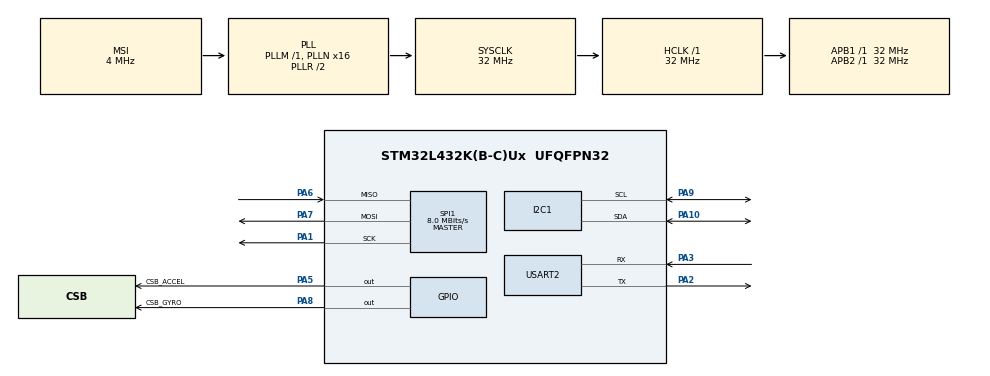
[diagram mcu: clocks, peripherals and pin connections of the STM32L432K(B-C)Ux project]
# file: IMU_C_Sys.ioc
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I2C1.Timing=0x00707CBB
Mcu.Family=STM32L4
Mcu.Name=STM32L432K(B-C)Ux
Mcu.Package=UFQFPN32
NVIC.PriorityGroup=NVIC_PRIORITYGROUP_4
PA1.Mode=Full_Duplex_Master
PA1.Signal=SPI1_SCK
PA10.Mode=I2C
PA10.Signal=I2C1_SDA
PA2.Mode=Asynchronous
PA2.Signal=USART2_TX
PA3.Mode=Asynchronous
PA3.Signal=USART2_RX
PA5.GPIO_Label=CSB_ACCEL
PA5.Signal=GPIO_Output
PA6.Mode=Full_Duplex_Master
PA6.Signal=SPI1_MISO
PA7.Mode=Full_Duplex_Master
PA7.Signal=SPI1_MOSI
PA8.GPIO_Label=CSB_GYRO
PA8.Signal=GPIO_Output
PA9.Mode=I2C
PA9.Signal=I2C1_SCL
ProjectManager.HeapSize=0x200
ProjectManager.StackSize=0x400
ProjectManager.TargetToolchain=STM32CubeIDE
RCC.ADCFreq_Value=32000000
RCC.AHBFreq_Value=32000000
RCC.APB1Freq_Value=32000000
RCC.APB1TimFreq_Value=32000000
RCC.APB2Freq_Value=32000000
RCC.APB2TimFreq_Value=32000000
RCC.CortexFreq_Value=32000000
RCC.HCLKFreq_Value=32000000
RCC.HSE_VALUE=8000000
RCC.HSI16_VALUE=16000000
RCC.HSI48_VALUE=48000000
RCC.HSI_VALUE=16000000
RCC.LSE_VALUE=32768
RCC.MSI_VALUE=4000000
RCC.PLLMUL=RCC_PLLMUL_4
RCC.PLLN=16
RCC.PLLSAI1N=16
RCC.SYSCLKFreq_VALUE=32000000
RCC.SYSCLKSource=RCC_SYSCLKSOURCE_PLLCLK
RCC.USBFreq_Value=32000000
RCC.VCOOutputFreq_Value=64000000
SPI1.BaudRatePrescaler=SPI_BAUDRATEPRESCALER_4
SPI1.CLKPhase=SPI_PHASE_1EDGE
SPI1.CLKPolarity=SPI_POLARITY_LOW
SPI1.CalculateBaudRate=8.0 MBits/s
SPI1.DataSize=SPI_DATASIZE_8BIT
SPI1.Direction=SPI_DIRECTION_2LINES
SPI1.FirstBit=SPI_FIRSTBIT_MSB
SPI1.Mode=SPI_MODE_MASTER
SPI1.VirtualType=VM_MASTER
USART2.VirtualMode-Asynchronous=VM_ASYNC
board=NUCLEO-L432KC

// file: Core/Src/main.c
/* USER CODE BEGIN Header */
/**
  ******************************************************************************
  * @file           : main.c
  * @brief          : Main program body
  ******************************************************************************
  * @attention
  *
  * Copyright (c) 2026 STMicroelectronics.
  * All rights reserved.
  *
  * This software is licensed under terms that can be found in the LICENSE file
  * in the root directory of this software component.
  * If no LICENSE file comes with this software, it is provided AS-IS.
  *
  ******************************************************************************
  */
/* USER CODE END Header */
#include "main.h"

/* USER CODE BEGIN Includes */
#include <stdio.h>
#include <stdarg.h>
#include <string.h>
#include <math.h>
#include "compass.h"
#include "bmi088.h"
#include "sensor_fusion.h"
/* USER CODE END Includes */

I2C_HandleTypeDef hi2c1;

SPI_HandleTypeDef hspi1;

UART_HandleTypeDef huart2;

void SystemClock_Config(void);
static void MX_GPIO_Init(void);
static void MX_USART2_UART_Init(void);
static void MX_SPI1_Init(void);
static void MX_I2C1_Init(void);

/* USER CODE BEGIN 0 */

/**
  * @brief  Printf function for UART2
  */
void huart2_printf(const char *format, ...) {
    static char linebuf[1024];
    va_list args;
    va_start(args, format);
    int n = vsnprintf(linebuf, 1024, format, args);
    HAL_UART_Transmit(&huart2, (uint8_t*) linebuf, n, HAL_MAX_DELAY);
    va_end(args);
}

/* USER CODE END 0 */

int main(void)
{

  /* MCU Configuration--------------------------------------------------------*/

  /* Reset of all peripherals, Initializes the Flash interface and the Systick. */
  HAL_Init();

  /* Configure the system clock */
  SystemClock_Config();

  /* Initialize all configured peripherals */
  MX_GPIO_Init();
  MX_USART2_UART_Init();
  MX_SPI1_Init();
  MX_I2C1_Init();
  /* USER CODE BEGIN 2 */

  /* Initialize Compass */
  HAL_StatusTypeDef status;
  int16_t deg;

  status = compass4clickInit();
  if (status == HAL_OK) {
      huart2_printf("Compass Init OK\r\n");
  } else {
      huart2_printf("Compass Init FAIL %d\r\n", status);
  }

  /* Initialize BMI088 IMU */
  if (BMI088_Init(&hspi1) != 0) {
      huart2_printf("BMI088 initialization failed!\r\n");
      return -1;
  }
  huart2_printf("BMI088 initialized successfully\r\n");

  /* Initialize sensor fusion */
  SensorFusion_Init();

  /* Output structure for orientation */
  imu_measurement_t imu_data;
  orientation_t orientation;
  huart2_printf("---------------Start---------------");
  /* USER CODE END 2 */

  /* Infinite loop */
  /* USER CODE BEGIN WHILE */
  while (1)
  {
      /* Read IMU data */
      if (BMI088_Read(&hspi1, &imu_data) != 0) {
          continue;
      }

      /* Update sensor fusion */
      SensorFusion_Update(&imu_data, &orientation);

      /* Read compass heading */
      status = heading(&deg);

      /* Communikation with the other board */
      uint8_t frame[14] = {0};
      frame[0] = 0xAA;
      frame[1] = 0x33;

      memcpy(&frame[2],  &orientation.roll,  4);
      memcpy(&frame[6],  &orientation.pitch, 4);
      memcpy(&frame[10], &orientation.yaw,   4);

      HAL_UART_Transmit(&huart2, frame, sizeof(frame), HAL_MAX_DELAY);

      HAL_Delay(20);

      uint8_t frame2[14] = {0};
      frame2[0] = 0xAA;
      frame2[1] = 0x44;

      float heading_f = (float)deg;

      memcpy(&frame2[2],  &heading_f,  4);

      HAL_UART_Transmit(&huart2, frame2, sizeof(frame2), HAL_MAX_DELAY);
      HAL_Delay(20);
  }

    /* USER CODE END WHILE */

}

void SystemClock_Config(void)
{
  RCC_OscInitTypeDef RCC_OscInitStruct = {0};
  RCC_ClkInitTypeDef RCC_ClkInitStruct = {0};

  /** Configure the main internal regulator output voltage
  */
  if (HAL_PWREx_ControlVoltageScaling(PWR_REGULATOR_VOLTAGE_SCALE1) != HAL_OK)
  {
    Error_Handler();
  }

  /** Initializes the RCC Oscillators according to the specified parameters
  * in the RCC_OscInitTypeDef structure.
  */
  RCC_OscInitStruct.OscillatorType = RCC_OSCILLATORTYPE_MSI;
  RCC_OscInitStruct.MSIState = RCC_MSI_ON;
  RCC_OscInitStruct.MSICalibrationValue = 0;
  RCC_OscInitStruct.MSIClockRange = RCC_MSIRANGE_6;
  RCC_OscInitStruct.PLL.PLLState = RCC_PLL_ON;
  RCC_OscInitStruct.PLL.PLLSource = RCC_PLLSOURCE_MSI;
  RCC_OscInitStruct.PLL.PLLM = 1;
  RCC_OscInitStruct.PLL.PLLN = 16;
  RCC_OscInitStruct.PLL.PLLP = RCC_PLLP_DIV7;
  RCC_OscInitStruct.PLL.PLLQ = RCC_PLLQ_DIV2;
  RCC_OscInitStruct.PLL.PLLR = RCC_PLLR_DIV2;
  if (HAL_RCC_OscConfig(&RCC_OscInitStruct) != HAL_OK)
  {
    Error_Handler();
  }

  /** Initializes the CPU, AHB and APB buses clocks
  */
  RCC_ClkInitStruct.ClockType = RCC_CLOCKTYPE_HCLK|RCC_CLOCKTYPE_SYSCLK
                              |RCC_CLOCKTYPE_PCLK1|RCC_CLOCKTYPE_PCLK2;
  RCC_ClkInitStruct.SYSCLKSource = RCC_SYSCLKSOURCE_PLLCLK;
  RCC_ClkInitStruct.AHBCLKDivider = RCC_SYSCLK_DIV1;
  RCC_ClkInitStruct.APB1CLKDivider = RCC_HCLK_DIV1;
  RCC_ClkInitStruct.APB2CLKDivider = RCC_HCLK_DIV1;

  if (HAL_RCC_ClockConfig(&RCC_ClkInitStruct, FLASH_LATENCY_1) != HAL_OK)
  {
    Error_Handler();
  }
}

static void MX_I2C1_Init(void)
{

  /* USER CODE BEGIN I2C1_Init 1 */

  /* USER CODE BEGIN I2C1_Init 0 */

  /* USER CODE END I2C1_Init 0 */

  /* USER CODE BEGIN I2C1_Init 1 */

  /* USER CODE END I2C1_Init 1 */
  hi2c1.Instance = I2C1;
  hi2c1.Init.Timing = 0x00707CBB;
  hi2c1.Init.OwnAddress1 = 0;
  hi2c1.Init.AddressingMode = I2C_ADDRESSINGMODE_7BIT;
  hi2c1.Init.DualAddressMode = I2C_DUALADDRESS_DISABLE;
  hi2c1.Init.OwnAddress2 = 0;
  hi2c1.Init.OwnAddress2Masks = I2C_OA2_NOMASK;
  hi2c1.Init.GeneralCallMode = I2C_GENERALCALL_DISABLE;
  hi2c1.Init.NoStretchMode = I2C_NOSTRETCH_DISABLE;
  if (HAL_I2C_Init(&hi2c1) != HAL_OK)
  {
    Error_Handler();
  }

  /** Configure Analogue filter
  */
  if (HAL_I2CEx_ConfigAnalogFilter(&hi2c1, I2C_ANALOGFILTER_ENABLE) != HAL_OK)
  {
    Error_Handler();
  }

  /** Configure Digital filter
  */
  if (HAL_I2CEx_ConfigDigitalFilter(&hi2c1, 0) != HAL_OK)
  {
    Error_Handler();
  }

}

static void MX_SPI1_Init(void)
{

  /* SPI1 parameter configuration*/
  hspi1.Instance = SPI1;
  hspi1.Init.Mode = SPI_MODE_MASTER;
  hspi1.Init.Direction = SPI_DIRECTION_2LINES;
  hspi1.Init.DataSize = SPI_DATASIZE_8BIT;
  hspi1.Init.CLKPolarity = SPI_POLARITY_LOW;
  hspi1.Init.CLKPhase = SPI_PHASE_1EDGE;
  hspi1.Init.NSS = SPI_NSS_SOFT;
  hspi1.Init.BaudRatePrescaler = SPI_BAUDRATEPRESCALER_4;
  hspi1.Init.FirstBit = SPI_FIRSTBIT_MSB;
  hspi1.Init.TIMode = SPI_TIMODE_DISABLE;
  hspi1.Init.CRCCalculation = SPI_CRCCALCULATION_DISABLE;
  hspi1.Init.CRCPolynomial = 7;
  hspi1.Init.CRCLength = SPI_CRC_LENGTH_DATASIZE;
  hspi1.Init.NSSPMode = SPI_NSS_PULSE_ENABLE;
  if (HAL_SPI_Init(&hspi1) != HAL_OK)
  {
    Error_Handler();
  }

}

static void MX_USART2_UART_Init(void)
{

  huart2.Instance = USART2;
  huart2.Init.BaudRate = 115200;
  huart2.Init.WordLength = UART_WORDLENGTH_8B;
  huart2.Init.StopBits = UART_STOPBITS_1;
  huart2.Init.Parity = UART_PARITY_NONE;
  huart2.Init.Mode = UART_MODE_TX_RX;
  huart2.Init.HwFlowCtl = UART_HWCONTROL_NONE;
  huart2.Init.OverSampling = UART_OVERSAMPLING_16;
  huart2.Init.OneBitSampling = UART_ONE_BIT_SAMPLE_DISABLE;
  huart2.AdvancedInit.AdvFeatureInit = UART_ADVFEATURE_NO_INIT;
  if (HAL_UART_Init(&huart2) != HAL_OK)
  {
    Error_Handler();
  }

}

static void MX_GPIO_Init(void)
{
  GPIO_InitTypeDef GPIO_InitStruct = {0};

  /* GPIO Ports Clock Enable */
  __HAL_RCC_GPIOA_CLK_ENABLE();

  /*Configure GPIO pin Output Level */
  HAL_GPIO_WritePin(GPIOA, CSB_ACCEL_Pin|CSB_GYRO_Pin, GPIO_PIN_RESET);

  /*Configure GPIO pins : CSB_ACCEL_Pin CSB_GYRO_Pin */
  GPIO_InitStruct.Pin = CSB_ACCEL_Pin|CSB_GYRO_Pin;
  GPIO_InitStruct.Mode = GPIO_MODE_OUTPUT_PP;
  GPIO_InitStruct.Pull = GPIO_NOPULL;
  GPIO_InitStruct.Speed = GPIO_SPEED_FREQ_LOW;
  HAL_GPIO_Init(GPIOA, &GPIO_InitStruct);

}

void Error_Handler(void)
{
  __disable_irq();
  while (1)
  {
  }
}
